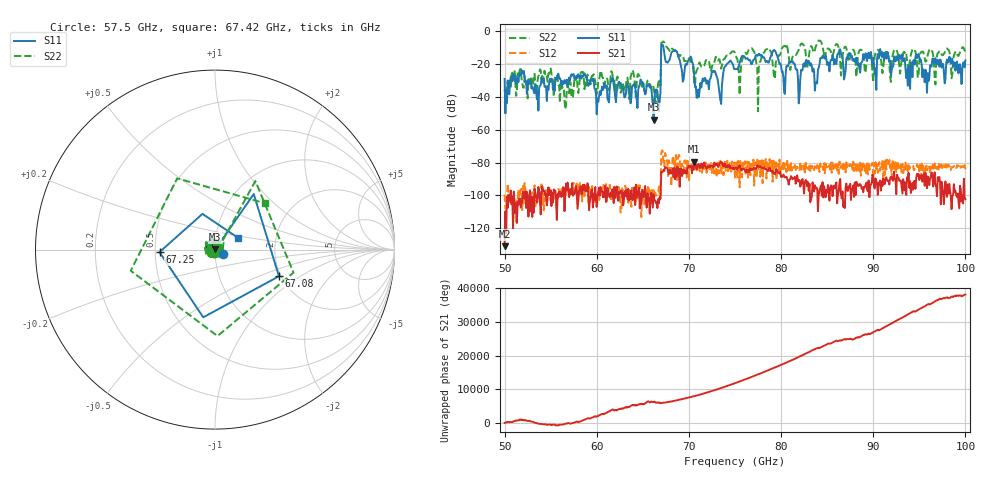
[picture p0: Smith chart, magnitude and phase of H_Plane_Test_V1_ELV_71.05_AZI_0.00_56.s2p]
! 11/27/2026 8:39:18 AM
! C:\ANRITSUVNA\TEMP\TEMP.S2P
! CHANNEL.1
! TR.MEASUREMENT
! RAW.DATA
# HZ S RI R 50.0
! FREQ.HZ  S11RE  S11IM  S21RE  S21IM  S12RE  S12IM  S22RE  S22IM
!; PortSelection: Port_12
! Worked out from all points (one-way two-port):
!   601 points, 50 GHz to 100 GHz, reference 50 ohm
!   highest |S21| = -79.40 dB at 70.58 GHz (marker M1); lowest = -131.0 dB at 50 GHz (marker M2)
!   lowest |S11| = -53.9 dB at 66.17 GHz (marker M3), VSWR 1.00, Z = 50.1 + j0.147 ohm
!   |S11| at or under -10 dB: start of sweep to 67 GHz; 67.24 GHz to end of sweep
!   |S22| runs from -48.8 to -5.6 dB; largest |S21 - S12| = 0.00023
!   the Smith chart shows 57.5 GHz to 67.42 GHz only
!   S11 on the Smith chart (normalised r, x): 57.5 GHz: 1.09, -0.05; 67.08 GHz: 1.95, -0.68; 67.25 GHz: 0.53, -0.02; 67.42 GHz: 1.29, +0.17
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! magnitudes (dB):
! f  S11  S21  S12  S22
! 50 GHz  -29.1  -131.0  -99.6  -35.3
! 57.5 GHz  -26.1  -98.5  -92.5  -34.5
! 58.42 GHz  -27.1  -98.0  -103.7  -24.8
! 60.17 GHz  -43.0  -97.8  -98.1  -30.1
! 66.17 GHz  -53.9  -99.4  -95.6  -34.0
! 66.67 GHz  -41.8  -102.4  -97.8  -31.6
! 67.08 GHz  -8.3  -85.9  -72.6  -6.8
! 67.25 GHz  -10.2  -84.4  -82.1  -6.3
! 67.42 GHz  -16.7  -82.8  -74.2  -8.4
! 70.58 GHz  -27.9  -79.4  -85.6  -32.9
! 73.42 GHz  -42.1  -79.8  -78.9  -19.8
! 75 GHz  -23.1  -83.3  -89.1  -13.0
! 77.58 GHz  -13.8  -82.3  -84.7  -21.7
! 78.5 GHz  -18.2  -84.4  -79.9  -10.8
! 79.33 GHz  -11.7  -86.9  -83.9  -28.8
! 80.25 GHz  -28.0  -87.3  -79.0  -9.4
! 83.42 GHz  -24.6  -92.1  -82.2  -10.8
! 91.67 GHz  -16.7  -90.9  -81.0  -15.2
! 93.75 GHz  -33.2  -91.3  -85.4  -21.4
! 94.83 GHz  -14.8  -88.3  -82.8  -28.3
! 95.83 GHz  -37.5  -95.6  -84.7  -16.4
! 100 GHz  -17.7  -102.4  -84.1  -12.5
